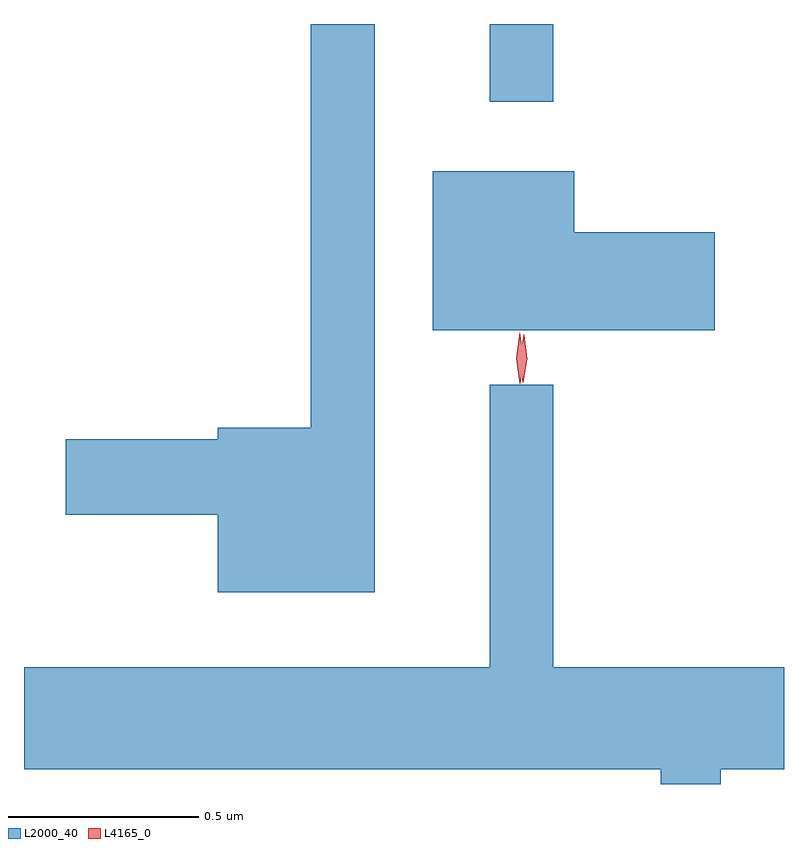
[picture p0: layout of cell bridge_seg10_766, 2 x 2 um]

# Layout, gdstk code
import gdstk
lib = gdstk.Library(unit=1e-6, precision=1e-09)
def R(c, l, rs):  # rectangles x0, y0, x1, y1
    for r in rs: c.add(gdstk.rectangle(r[:2], r[2:], *l))
def P(c, l, *ps):  # polygons
    for p in ps: c.add(gdstk.Polygon(p, *l))
L2000_40 = (2000, 40)
L4165_0 = (4165, 0)

bridge_seg10_766 = lib.new_cell('bridge_seg10_766')
R(bridge_seg10_766, L2000_40, [(920.121,2115.673,920.289,2115.877)])
P(bridge_seg10_766, L2000_40, [(919.819,2115.877),(919.651,2115.877),(919.651,2114.814),(919.406,2114.814),(919.406,2114.784),(919.006,2114.784),(919.006,2114.586),(919.406,2114.586),(919.406,2114.381),(919.819,2114.381)],
  [(920.714,2115.329),(920.344,2115.329),(920.344,2115.489),(919.971,2115.489),(919.971,2115.071),(920.714,2115.071)],
  [(920.729,2113.916),(920.896,2113.916),(920.896,2114.184),(920.289,2114.184),(920.289,2114.928),(920.121,2114.928),(920.121,2114.184),(918.896,2114.184),(918.896,2113.916),(920.571,2113.916),(920.571,2113.877),(920.729,2113.877)])
P(bridge_seg10_766, L4165_0, [(920.21,2114.933),(920.209,2114.934),(920.201,2114.996),(920.211,2115.059),(920.211,2115.06),(920.212,2115.059),(920.22,2114.996),(920.21,2114.934)],
  [(920.201,2114.93),(920.191,2114.998),(920.2,2115.066),(920.201,2115.066),(920.201,2115.066),(920.211,2114.998),(920.202,2114.93),(920.202,2114.93)])

lib.write_gds('bridge_seg10_766.gds')
